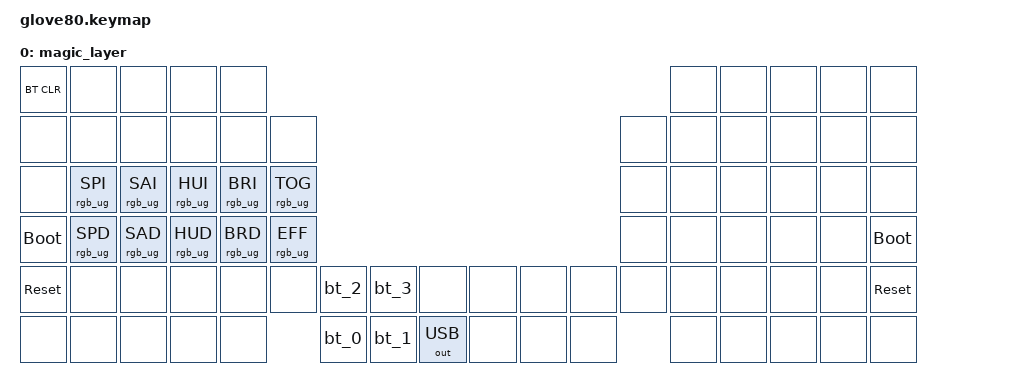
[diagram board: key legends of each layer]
/*
 * Copyright (c) 2020 The ZMK Contributors
 *
 * SPDX-License-Identifier: MIT
 */


//
// Glove80 key positions index for positional hold-tap
// - https://discord.com/channels/877392805654306816/937645688244826154/1066713913351221248
// - https://media.discordapp.net/attachments/937645688244826154/1066713913133121556/image.png
//
// |------------------------|------------------------|
// | LEFT_HAND_KEYS         |        RIGHT_HAND_KEYS |
// |                        |                        |
// |  0  1  2  3  4         |          5  6  7  8  9 |
// | 10 11 12 13 14 15      |      16 17 18 19 20 21 |
// | 22 23 24 25 26 27      |      28 29 30 31 32 33 |
// | 34 35 36 37 38 39      |      40 41 42 43 44 45 |
// | 46 47 48 49 50 51      |      58 59 60 61 62 63 |
// | 64 65 66 67 68         |         75 76 77 78 79 |
// |                69 52   |   57 74                |
// |                 70 53  |  56 73                 |
// |                  71 54 | 55 72                  |
// |------------------------|------------------------|
//
#define LEFT_HAND_KEYS    0  1  2  3  4 10 11 12 13 14 15 22 23 24 25 26 27 34 35 36 37 38 39 46 47 48 49 50 51 64 65 66 67 68
#define RIGHT_HAND_KEYS   5  6  7  8  9 16 17 18 19 20 21 28 29 30 31 32 33 40 41 42 43 44 45 58 59 60 61 62 63 75 76 77 78 79
// Right hands but NOT the magic key! ;)
#define RIGHT_HAND_KEYS_M 5  6  7  8  9 16 17 18 19 20 21 28 30 31 32 33 40 41 42 43 44 45 58 59 60 61 62 63 75 76 77 78 79
#define THUMB_KEYS 69 52 57 74 70 53 56 73 71 54   55 72

#include <behaviors.dtsi>
#include <dt-bindings/zmk/keys.h>
#include <dt-bindings/zmk/bt.h>
#include <dt-bindings/zmk/ext_power.h>
#include <dt-bindings/zmk/outputs.h>
#include <dt-bindings/zmk/rgb.h>
#include <behaviors/num_word.dtsi>

#define my_tapping_term 380
#define my_quick_tapping_term 112
#define umlaut_tapping_term 150
#define my_ak_delay 40

&sl {  // sticky-layer config
    ignore-modifiers;          // allow chording sticky mods & layers
};

// layers
#define DEFAULT     0
#define ALPHA2      1
#define NAVI        2
#define SYMBOLS     3
#define NUMBERS     4
#define MAGIC       5

// modifiers
#define HYPER LC(LS(LG(LALT)))
#define MEH LS(LC(LALT))
// special chars
#define U_UML &lk_U_umlaut 0 U
#define A_UML &lk_A_umlaut 0 A
#define O_UML &lk_O_umlaut 0 O

// special keys
// I will never like this dsl! Why do I have to pass arguments where no arguments are used!?
#define Arrows arrows 0 0

#define CommQues &commQues MEH 0 
#define NUM_V &lt NUMBERS V 

// less thumbs
#define SYM_L &msl SYMBOLS SYMBOLS
#define NAV_L &msl NAVI NAVI
#define NAV_SPACE &lt NAVI SPACE
#define NAV_R &lt NAVI R
#define NUM_I &lt NUMBERS I
/ {

    #include "combos.dtsi"

    // conditional_layers {
    //     compatible = "zmk,conditional-layers";
    //     tri_layer {
    //         if-layers = <SYMBOLS NAVI>;
    //         then-layer = <NUMBERS>;
    //     };
    // };

    #include "macros.dtsi"    
    #include "behaviors.dtsi"

    keymap {
        compatible = "zmk,keymap";
        #include "layers/puq.dtsi"
        #include "layers/puq2.dtsi"
        #include "layers/navigation.dtsi"
        #include "layers/symbols.dtsi"    
        #include "layers/numword.dtsi"        
        magic_layer {
            bindings = <
            &bt BT_CLR        &none               &none           &none           &none                                                                                                           &none      &none      &none      &none      &none
            &none             &none               &none           &none           &none           &none                                                                                &none      &none      &none      &none      &none      &none
            &none             &rgb_ug RGB_SPI     &rgb_ug RGB_SAI &rgb_ug RGB_HUI &rgb_ug RGB_BRI &rgb_ug RGB_TOG                                                                      &none      &none      &none      &none      &none      &none
            &bootloader       &rgb_ug RGB_SPD     &rgb_ug RGB_SAD &rgb_ug RGB_HUD &rgb_ug RGB_BRD &rgb_ug RGB_EFF                                                                      &none      &none      &none      &none      &none      &bootloader
            &sys_reset        &none               &none           &none           &none           &none           &bt_2     &bt_3     &none            &none     &none     &none       &none      &none      &none      &none      &none      &sys_reset
            &none             &none               &none           &none           &none                           &bt_0     &bt_1     &out OUT_USB     &none     &none     &none                  &none      &none      &none      &none      &none
            >;
        };
    };
};
